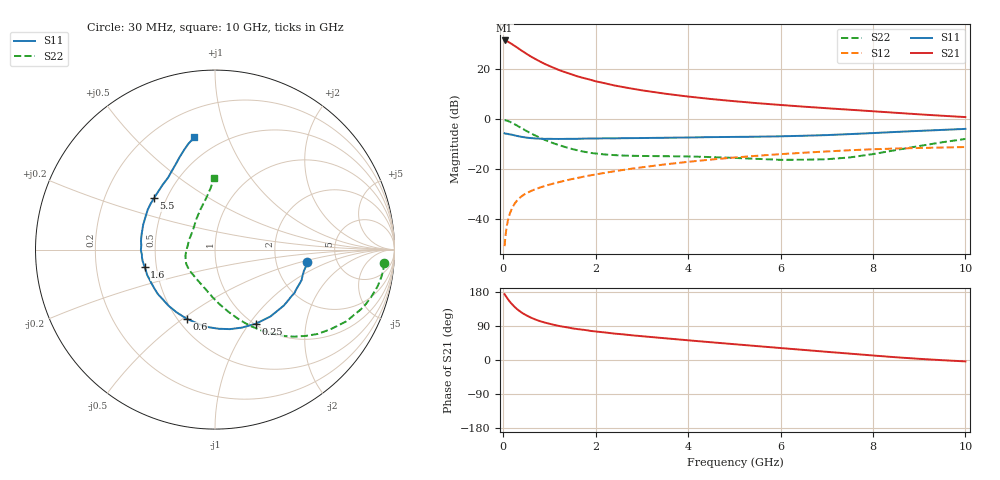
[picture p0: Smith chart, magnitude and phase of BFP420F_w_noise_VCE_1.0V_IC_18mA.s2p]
! Infineon Technologies  Discrete & RF Semiconductors
! BFP420F
! VCE =  1.0 V,  IC =  18 mA
! Common Emitter S-Parameters:  Sep 2011
# GHz  S  MA  R  50
!  f  S11  S21  S12  S22
! GHz  MAG  ANG  MAG  ANG  MAG  ANG  MAG  ANG
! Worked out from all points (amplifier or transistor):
!   54 points, 30 MHz to 10 GHz, reference 50 ohm
!   highest |S21| = 31.4 dB at 30 MHz (marker M1)
!   |S21| within 3 dB of that: start of sweep to 314.9 MHz
!   unconditionally stable (mu >= 1): 1.613 GHz to end of sweep
!   at 120 MHz: K = 0.25, MSG = 34.9 dB, |S12| = -39.1 dB
!   at 1.3 GHz: K = 0.91, MSG = 21.9 dB, |S12| = -24.8 dB
!   at 10 GHz: K = 1.23, MAG = 3.1 dB, |S12| = -11.2 dB
!   lowest NFmin = 1.47 dB at 900 MHz
!   S11 on the Smith chart (normalised r, x): 30 MHz: 3.04, -0.60; 250 MHz: 1.02, -1.08; 600 MHz: 0.55, -0.52; 1.6 GHz: 0.43, -0.10; 5.5 GHz: 0.43, +0.31; 10 GHz: 0.36, +0.77
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0.03  0.5201 -7.9  37.09 173.7  0.0029 88.4  0.9468 -4.4
0.05  0.5094 -13.3  36.49 169.6  0.0047 86.3  0.9429 -7.7
0.07  0.5115 -19.4  36.25 166.3  0.0066 83.4  0.9343 -10.9
0.12  0.4983 -31.9  34.39 157.3  0.0111 78.3  0.9013 -18.3
0.15  0.4941 -39.2  32.99 152.8  0.0135 76.2  0.8773 -22.4
0.2  0.4839 -50.5  30.87 146.0  0.0172 72.6  0.8332 -28.7
0.25  0.4715 -61.0  28.7 139.7  0.0207 69.4  0.7851 -34.2
0.3  0.4598 -70.9  26.84 134.3  0.0237 66.8  0.7414 -39.3
0.4  0.4416 -87.2  23.17 125.1  0.0288 62.9  0.6557 -47.7
0.5  0.4266 -100.7  20.19 117.9  0.033 60.4  0.5807 -54.5
0.6  0.4165 -112.3  17.68 111.8  0.0366 58.7  0.517 -60.4
0.8  0.4061 -129.8  14.03 102.3  0.0431 57.2  0.4218 -69.9
1  0.4034 -142.1  11.46 95.7  0.0491 56.9  0.3529 -78.0
1.2  0.4008 -152.0  9.578 90.0  0.0549 56.6  0.3035 -85.6
1.6  0.4037 -165.9  7.152 81.7  0.0666 56.6  0.2388 -99.7
1.7  0.4058 -168.6  6.745 80.2  0.0695 56.6  0.2269 -103.1
2.4  0.4114 176.6  4.699 69.8  0.0906 55.4  0.1909 -124.8
3.5  0.4235 160.8  3.212 57.4  0.1244 51.6  0.1813 -145.9
5.5  0.4449 139.9  2.075 36.6  0.1852 39.9  0.1603 -178.0
7  0.4786 123.1  1.645 21.6  0.2257 29.8  0.1577 145.8
8.5  0.5535 110.7  1.333 7.2  0.258 18.5  0.2407 109.3
10  0.6366 100.4  1.096 -3.7  0.2765 9.6  0.4013 90.6
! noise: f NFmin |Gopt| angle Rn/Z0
0.45  1.49  0.14  179  0.11
0.9  1.47  0.15  176  0.13
1.9  1.6  0.24  -172  0.18
2.4  1.67  0.25  -168  0.12
3.5  1.9  0.27  -159  0.16
